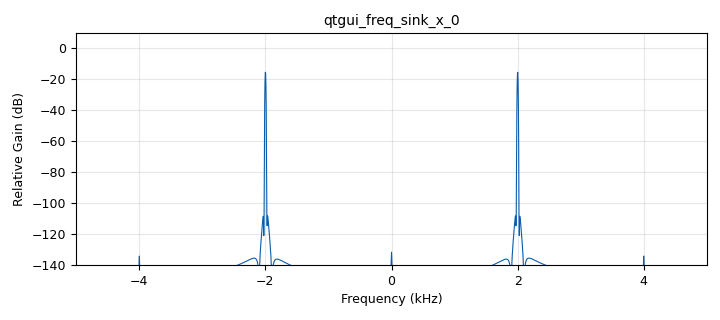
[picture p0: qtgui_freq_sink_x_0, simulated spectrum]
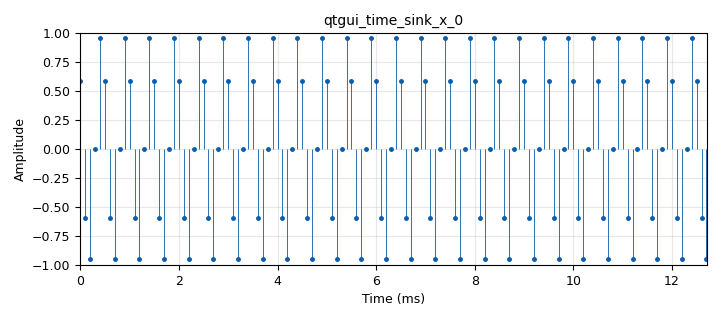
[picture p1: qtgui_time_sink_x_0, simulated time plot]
options:
  parameters:
    author: 'Sergio_Santos_Darwin_Sanchez_B1C_grupo3 '
    generate_options: qt_gui
    id: lab1_punto2
    output_language: python
    title: Lab1_punto2_muestreo
  states: {}

blocks:
- name: freq
  id: variable_qtgui_range
  parameters:
    label: Frequency
    start: '500'
    step: '1000'
    stop: '40000'
    value: '2000'
  states: {}
- name: samp_rate
  id: variable_qtgui_range
  parameters:
    label: frecuencia de muestreo
    start: '1000'
    step: '1'
    stop: '80000'
    value: '10000'
  states: {}
- name: analog_sig_source_x_0
  id: analog_sig_source_x
  parameters:
    amp: '1'
    freq: freq
    offset: '0'
    phase: '0'
    samp_rate: samp_rate
    type: float
    waveform: analog.GR_SIN_WAVE
  states: {}
- name: analog_sig_source_x_0_0
  id: analog_sig_source_x
  parameters:
    amp: '1'
    freq: freq
    offset: '0'
    phase: '0'
    samp_rate: samp_rate
    type: float
    waveform: analog.GR_SIN_WAVE
  states: {}
- name: analog_sig_source_x_0_0_0
  id: analog_sig_source_x
  parameters:
    amp: '1'
    freq: freq
    offset: '0'
    phase: '0'
    samp_rate: samp_rate
    type: float
    waveform: analog.GR_SIN_WAVE
  states: {}
- name: blocks_throttle_0
  id: blocks_throttle
  parameters:
    samples_per_second: samp_rate
    type: float
  states: {}
- name: qtgui_freq_sink_x_0
  id: qtgui_freq_sink_x
  parameters:
    bw: samp_rate
    fc: '0'
    fftsize: '2048'
    type: float
  states: {}
- name: qtgui_time_sink_x_0
  id: qtgui_time_sink_x
  parameters:
    size: '128'
    srate: samp_rate
    stemplot: 'True'
    type: float
  states: {}

connections:
- [analog_sig_source_x_0, '0', blocks_throttle_0, '0']
- [blocks_throttle_0, '0', qtgui_freq_sink_x_0, '0']
- [blocks_throttle_0, '0', qtgui_time_sink_x_0, '0']

metadata:
  file_format: 1
  grc_version: 3.9.8.0
